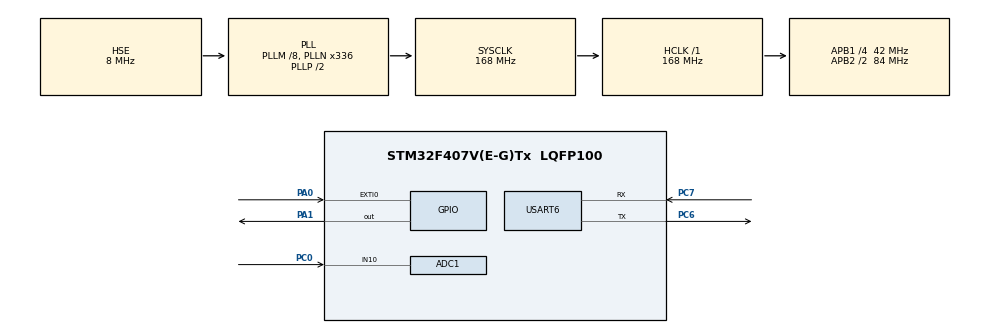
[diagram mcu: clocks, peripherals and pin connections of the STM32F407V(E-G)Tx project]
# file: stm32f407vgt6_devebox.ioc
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ADC1.Channel-1\#ChannelRegularConversion=ADC_CHANNEL_10
ADC1.InjNumberOfConversion=0
ADC1.NbrOfConversionFlag=1
ADC1.Rank-1\#ChannelRegularConversion=1
ADC1.SamplingTime-1\#ChannelRegularConversion=ADC_SAMPLETIME_15CYCLES
ADC1.master=1
Dma.ADC1.0.Direction=DMA_PERIPH_TO_MEMORY
Dma.ADC1.0.FIFOMode=DMA_FIFOMODE_DISABLE
Dma.ADC1.0.Instance=DMA2_Stream0
Dma.ADC1.0.MemDataAlignment=DMA_MDATAALIGN_HALFWORD
Dma.ADC1.0.MemInc=DMA_MINC_DISABLE
Dma.ADC1.0.Mode=DMA_NORMAL
Dma.ADC1.0.PeriphDataAlignment=DMA_PDATAALIGN_HALFWORD
Dma.ADC1.0.PeriphInc=DMA_PINC_DISABLE
Dma.ADC1.0.Priority=DMA_PRIORITY_LOW
Dma.Request0=ADC1
Mcu.Family=STM32F4
Mcu.Name=STM32F407V(E-G)Tx
Mcu.Package=LQFP100
NVIC.DMA2_Stream0_IRQn=true\:0\:0\:false\:false\:true\:false\:true\:true
NVIC.EXTI0_IRQn=true\:5\:0\:true\:false\:true\:true\:true\:true
NVIC.PriorityGroup=NVIC_PRIORITYGROUP_4
NVIC.RCC_IRQn=true\:0\:0\:false\:false\:true\:true\:false\:true
NVIC.TIM2_IRQn=true\:0\:0\:false\:false\:true\:true\:true\:true
NVIC.USART6_IRQn=true\:0\:0\:false\:false\:true\:true\:true\:true
PA0-WKUP.GPIO_ModeDefaultEXTI=GPIO_MODE_IT_RISING
PA0-WKUP.GPIO_PuPd=GPIO_PULLDOWN
PA0-WKUP.Signal=GPXTI0
PA1.PinState=GPIO_PIN_SET
PA1.Signal=GPIO_Output
PA13.Mode=Serial_Wire
PA13.Signal=SYS_JTMS-SWDIO
PA14.Mode=Serial_Wire
PA14.Signal=SYS_JTCK-SWCLK
PC0.Signal=ADCx_IN10
PC6.Mode=Asynchronous
PC6.Signal=USART6_TX
PC7.Mode=Asynchronous
PC7.Signal=USART6_RX
PH0-OSC_IN.Mode=HSE-External-Oscillator
PH0-OSC_IN.Signal=RCC_OSC_IN
PH1-OSC_OUT.Mode=HSE-External-Oscillator
PH1-OSC_OUT.Signal=RCC_OSC_OUT
ProjectManager.HeapSize=0x200
ProjectManager.StackSize=0x400
ProjectManager.TargetToolchain=STM32CubeIDE
RCC.48MHZClocksFreq_Value=84000000
RCC.AHBFreq_Value=168000000
RCC.APB1CLKDivider=RCC_HCLK_DIV4
RCC.APB1Freq_Value=42000000
RCC.APB1TimFreq_Value=84000000
RCC.APB2CLKDivider=RCC_HCLK_DIV2
RCC.APB2Freq_Value=84000000
RCC.APB2TimFreq_Value=168000000
RCC.CortexFreq_Value=168000000
RCC.HCLKFreq_Value=168000000
RCC.HSE_VALUE=8000000
RCC.HSI_VALUE=16000000
RCC.LSE_VALUE=32768
RCC.PLLM=8
RCC.PLLN=336
RCC.PLLSourceVirtual=RCC_PLLSOURCE_HSE
RCC.SYSCLKFreq_VALUE=168000000
RCC.SYSCLKSource=RCC_SYSCLKSOURCE_PLLCLK
RCC.VCOOutputFreq_Value=336000000
SH.ADCx_IN10.0=ADC1_IN10,IN10
TIM2.Period=9999
TIM2.Prescaler=839
USART6.VirtualMode=VM_ASYNC
VP_TIM2_VS_ClockSourceINT.Mode=Internal
board=custom

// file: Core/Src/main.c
/* USER CODE BEGIN Header */
/**
 ******************************************************************************
 * @file           : main.c
 * @brief          : Main program body
 ******************************************************************************
 * @attention
 *
 * Copyright (c) 2026 STMicroelectronics.
 * All rights reserved.
 *
 * This software is licensed under terms that can be found in the LICENSE file
 * in the root directory of this software component.
 * If no LICENSE file comes with this software, it is provided AS-IS.
 *
 ******************************************************************************
 */
/* USER CODE END Header */
#include "main.h"

/* USER CODE BEGIN PTD */
typedef enum
{
  LED_MODE_OFF = 0,
  LED_MODE_ON,
  LED_MODE_BLINK_SLOW,
  LED_MODE_BLINK_FAST,
} LedMode_t;
typedef enum
{
  ADC_JOB_NONE = 0,
  ADC_JOB_SINGLE,
  ADC_JOB_AVG,
} ADCMode_t;
/* USER CODE END PTD */

ADC_HandleTypeDef hadc1;
DMA_HandleTypeDef hdma_adc1;

TIM_HandleTypeDef htim2;

UART_HandleTypeDef huart6;
HAL_StatusTypeDef status;
/* USER CODE BEGIN PV */
static uint32_t button_last_tick = 0;
static uint32_t last_blink = 0;
volatile uint32_t pending_presses = 0;
volatile uint32_t press_count = 0;
static uint8_t blink_active = 0;
static uint8_t blink_toggles_left = 0;
static uint32_t blink_tick = 0;
static LedMode_t led_mode = LED_MODE_OFF;
static uint32_t led_mode_tick = 0;
volatile uint8_t rx_byte;
volatile uint8_t rx_buffer[64];
volatile uint8_t rx_index = 0;
volatile uint8_t command_ready;
static const char led_on[] = "LED ON\r\n";
static const char led_off[] = "LED OFF\r\n";
static const char led_blink_slow[] = "LED BLINK SLOW\r\n";
static const char led_blink_fast[] = "LED BLINK FAST\r\n";
volatile uint8_t tim_flag = 0;
static int16_t time_between_measurements = 0;
static int8_t continue_measuring = 0;
static uint32_t prev_measurement = 0;
static uint32_t adc_single_value = 0;
static uint32_t adc_dma_buffer[8];
volatile uint8_t adc_flag = 0;
static ADCMode_t adc_mode = ADC_JOB_NONE;
static const char line_busy[] = "ADC busy\r\n";
static const char adc_error[] = "ADC error\r\n";
/* USER CODE END PV */

void SystemClock_Config(void);
static void MX_GPIO_Init(void);
static void MX_DMA_Init(void);
static void MX_USART6_UART_Init(void);
static void MX_TIM2_Init(void);
static void MX_ADC1_Init(void);

/* USER CODE BEGIN 0 */

static void led_set_on(void)
{
  HAL_GPIO_WritePin(GPIOA, GPIO_PIN_1, GPIO_PIN_RESET);
}

static void led_set_off(void)
{
  HAL_GPIO_WritePin(GPIOA, GPIO_PIN_1, GPIO_PIN_SET);
}
void parsing_measurement_command(char *str)
{
  char *first, *second;
  first = strtok(str, " ");
  second = strtok(NULL, " ");
  if (second != NULL)
  {
    time_between_measurements = atoi(second);
    if (time_between_measurements == 0)
    {
      continue_measuring = 0;
    }
    else
    {
      continue_measuring = 1;
      prev_measurement = HAL_GetTick();
    }
  }
}
void execute_command(const char *str)
{
  if (strcmp(str, "led on") == 0)
  {
    led_mode = LED_MODE_ON;
  }
  else if (strcmp(str, "led off") == 0)
  {
    led_mode = LED_MODE_OFF;
  }
  else if (strcmp(str, "status") == 0)
  {
    switch (led_mode)
    {
    case LED_MODE_OFF:
      HAL_UART_Transmit(&huart6, (uint8_t *)led_off, sizeof(led_off) - 1, HAL_MAX_DELAY);
      break;
    case LED_MODE_ON:
      HAL_UART_Transmit(&huart6, (uint8_t *)led_on, sizeof(led_on) - 1, HAL_MAX_DELAY);
      break;
    case LED_MODE_BLINK_SLOW:
      HAL_UART_Transmit(&huart6, (uint8_t *)led_blink_slow, sizeof(led_blink_slow) - 1, HAL_MAX_DELAY);
      break;
    case LED_MODE_BLINK_FAST:
      HAL_UART_Transmit(&huart6, (uint8_t *)led_blink_fast, sizeof(led_blink_fast) - 1, HAL_MAX_DELAY);
      break;
    default:
      HAL_UART_Transmit(&huart6, (uint8_t *)led_off, sizeof(led_off) - 1, HAL_MAX_DELAY);
      break;
    }
  }
  else if (strcmp(str, "measurement_avg") == 0)
  {
    adc_mode = ADC_JOB_AVG;
    status = HAL_ADC_Start_DMA(&hadc1, adc_dma_buffer, sizeof(adc_dma_buffer) / sizeof(adc_dma_buffer[0]));
    if (status == HAL_BUSY)
    {
      HAL_UART_Transmit(&huart6, (uint8_t *)line_busy, sizeof(line_busy) - 1, HAL_MAX_DELAY);
    }
    else if (status == HAL_ERROR)
    {
      HAL_UART_Transmit(&huart6, (uint8_t *)adc_error, sizeof(adc_error) - 1, HAL_MAX_DELAY);
    }
  }
  else if (strncmp(str, "measurement", 11) == 0)
  {
    if (strlen(str) == 11)
    {
      adc_mode = ADC_JOB_SINGLE;
      status = HAL_ADC_Start_DMA(&hadc1, &adc_single_value, 1);
      if (status == HAL_BUSY)
      {
        HAL_UART_Transmit(&huart6, (uint8_t *)line_busy, sizeof(line_busy) - 1, HAL_MAX_DELAY);
      }
      else if (status == HAL_ERROR)
      {
        HAL_UART_Transmit(&huart6, (uint8_t *)adc_error, sizeof(adc_error) - 1, HAL_MAX_DELAY);
      }
    }
    else if (str[11] == ' ')
    {
      parsing_measurement_command(str);
    }
  }
}
/* USER CODE END 0 */

int main(void)
{

  /* MCU Configuration--------------------------------------------------------*/

  /* Reset of all peripherals, Initializes the Flash interface and the Systick. */
  HAL_Init();

  /* Configure the system clock */
  SystemClock_Config();

  /* Initialize all configured peripherals */
  MX_GPIO_Init();
  MX_DMA_Init();
  MX_USART6_UART_Init();
  MX_TIM2_Init();
  MX_ADC1_Init();
  /* USER CODE BEGIN 2 */
  led_set_off();
  const char msg[] = "UART6 is ready\r\n";
  HAL_UART_Transmit(&huart6, (uint8_t *)msg, sizeof(msg) - 1, HAL_MAX_DELAY);
  HAL_UART_Receive_IT(&huart6, &rx_byte, 1);
  HAL_TIM_Base_Start_IT(&htim2);
  /* USER CODE END 2 */

  /* Infinite loop */
  while (1)
  {

    /* USER CODE BEGIN 3 */
    uint32_t now = HAL_GetTick();

    if (tim_flag)
    {
      led_mode = (led_mode == LED_MODE_OFF) ? LED_MODE_ON : LED_MODE_OFF;
      tim_flag = 0;
    }

    if (command_ready)
    {
      execute_command((char *)rx_buffer);
      command_ready = 0;
      rx_index = 0;
      memset(rx_buffer, 0, sizeof(rx_buffer));
    }

    if (continue_measuring == 1)
    {
      if ((now - prev_measurement) >= time_between_measurements)
      {
        adc_mode = ADC_JOB_SINGLE;
        status = HAL_ADC_Start_DMA(&hadc1, &adc_single_value, 1);
        if (status == HAL_BUSY)
        {
          HAL_UART_Transmit(&huart6, (uint8_t *)line_busy, sizeof(line_busy) - 1, HAL_MAX_DELAY);
        }
        else if (status == HAL_ERROR)
        {
          HAL_UART_Transmit(&huart6, (uint8_t *)adc_error, sizeof(adc_error) - 1, HAL_MAX_DELAY);
        }
        prev_measurement = now;
      }
    }

    if (adc_flag && adc_mode == ADC_JOB_SINGLE)
    {
      char buf[16];
      int len = sprintf(buf, "ADC: %lu\r\n", adc_single_value);
      HAL_UART_Transmit(&huart6, (uint8_t *)buf, len, HAL_MAX_DELAY);
      adc_flag = 0;
      adc_mode = ADC_JOB_NONE;
    }

    if (adc_flag && adc_mode == ADC_JOB_AVG)
    {
      uint32_t adc_dma_value = 0;
      uint32_t sum = 0;
      static const size_t adc_dma_buffer_length = sizeof(adc_dma_buffer) / sizeof(adc_dma_buffer[0]);
      for (size_t i = 0; i < adc_dma_buffer_length; i++)
      {
        sum += adc_dma_buffer[i];
      }
      adc_dma_value = sum / adc_dma_buffer_length;
      char buf[16];
      int len = sprintf(buf, "ADC: %lu\r\n", adc_dma_value);
      HAL_UART_Transmit(&huart6, (uint8_t *)buf, len, HAL_MAX_DELAY);
      adc_flag = 0;
      adc_mode = ADC_JOB_NONE;
    }

    if (pending_presses > 0U)
    {
      pending_presses--;
      led_mode++;
      if (led_mode > LED_MODE_BLINK_FAST)
      {
        led_mode = LED_MODE_OFF;
      }
      led_mode_tick = now;
    }
    switch (led_mode)
    {
    case LED_MODE_OFF:
      led_set_off();
      break;
    case LED_MODE_ON:
      led_set_on();
      break;
    case LED_MODE_BLINK_SLOW:
      if ((now - led_mode_tick) >= 500U)
      {
        HAL_GPIO_TogglePin(GPIOA, GPIO_PIN_1);
        led_mode_tick = now;
      }
      break;
    case LED_MODE_BLINK_FAST:
      if ((now - led_mode_tick) >= 150U)
      {
        HAL_GPIO_TogglePin(GPIOA, GPIO_PIN_1);
        led_mode_tick = now;
      }
      break;
    default:
      led_mode = LED_MODE_OFF;
      break;
    }
  }
  /* USER CODE END 3 */
}

void SystemClock_Config(void)
{
  RCC_OscInitTypeDef RCC_OscInitStruct = {0};
  RCC_ClkInitTypeDef RCC_ClkInitStruct = {0};

  /** Configure the main internal regulator output voltage
   */
  __HAL_RCC_PWR_CLK_ENABLE();
  __HAL_PWR_VOLTAGESCALING_CONFIG(PWR_REGULATOR_VOLTAGE_SCALE1);

  /** Initializes the RCC Oscillators according to the specified parameters
   * in the RCC_OscInitTypeDef structure.
   */
  RCC_OscInitStruct.OscillatorType = RCC_OSCILLATORTYPE_HSE;
  RCC_OscInitStruct.HSEState = RCC_HSE_ON;
  RCC_OscInitStruct.PLL.PLLState = RCC_PLL_ON;
  RCC_OscInitStruct.PLL.PLLSource = RCC_PLLSOURCE_HSE;
  RCC_OscInitStruct.PLL.PLLM = 8;
  RCC_OscInitStruct.PLL.PLLN = 336;
  RCC_OscInitStruct.PLL.PLLP = RCC_PLLP_DIV2;
  RCC_OscInitStruct.PLL.PLLQ = 4;
  if (HAL_RCC_OscConfig(&RCC_OscInitStruct) != HAL_OK)
  {
    Error_Handler();
  }

  /** Initializes the CPU, AHB and APB buses clocks
   */
  RCC_ClkInitStruct.ClockType = RCC_CLOCKTYPE_HCLK | RCC_CLOCKTYPE_SYSCLK | RCC_CLOCKTYPE_PCLK1 | RCC_CLOCKTYPE_PCLK2;
  RCC_ClkInitStruct.SYSCLKSource = RCC_SYSCLKSOURCE_PLLCLK;
  RCC_ClkInitStruct.AHBCLKDivider = RCC_SYSCLK_DIV1;
  RCC_ClkInitStruct.APB1CLKDivider = RCC_HCLK_DIV4;
  RCC_ClkInitStruct.APB2CLKDivider = RCC_HCLK_DIV2;

  if (HAL_RCC_ClockConfig(&RCC_ClkInitStruct, FLASH_LATENCY_5) != HAL_OK)
  {
    Error_Handler();
  }
}

static void MX_ADC1_Init(void)
{

  ADC_ChannelConfTypeDef sConfig = {0};

  /** Configure the global features of the ADC (Clock, Resolution, Data Alignment and number of conversion)
   */
  hadc1.Instance = ADC1;
  hadc1.Init.ClockPrescaler = ADC_CLOCK_SYNC_PCLK_DIV4;
  hadc1.Init.Resolution = ADC_RESOLUTION_12B;
  hadc1.Init.ScanConvMode = DISABLE;
  hadc1.Init.ContinuousConvMode = DISABLE;
  hadc1.Init.DiscontinuousConvMode = DISABLE;
  hadc1.Init.ExternalTrigConvEdge = ADC_EXTERNALTRIGCONVEDGE_NONE;
  hadc1.Init.ExternalTrigConv = ADC_SOFTWARE_START;
  hadc1.Init.DataAlign = ADC_DATAALIGN_RIGHT;
  hadc1.Init.NbrOfConversion = 1;
  hadc1.Init.DMAContinuousRequests = DISABLE;
  hadc1.Init.EOCSelection = ADC_EOC_SINGLE_CONV;
  if (HAL_ADC_Init(&hadc1) != HAL_OK)
  {
    Error_Handler();
  }

  /** Configure for the selected ADC regular channel its corresponding rank in the sequencer and its sample time.
   */
  sConfig.Channel = ADC_CHANNEL_10;
  sConfig.Rank = 1;
  sConfig.SamplingTime = ADC_SAMPLETIME_15CYCLES;
  if (HAL_ADC_ConfigChannel(&hadc1, &sConfig) != HAL_OK)
  {
    Error_Handler();
  }
}

static void MX_TIM2_Init(void)
{

  TIM_ClockConfigTypeDef sClockSourceConfig = {0};
  TIM_MasterConfigTypeDef sMasterConfig = {0};

  htim2.Instance = TIM2;
  htim2.Init.Prescaler = 839;
  htim2.Init.CounterMode = TIM_COUNTERMODE_UP;
  htim2.Init.Period = 9999;
  htim2.Init.ClockDivision = TIM_CLOCKDIVISION_DIV1;
  htim2.Init.AutoReloadPreload = TIM_AUTORELOAD_PRELOAD_DISABLE;
  if (HAL_TIM_Base_Init(&htim2) != HAL_OK)
  {
    Error_Handler();
  }
  sClockSourceConfig.ClockSource = TIM_CLOCKSOURCE_INTERNAL;
  if (HAL_TIM_ConfigClockSource(&htim2, &sClockSourceConfig) != HAL_OK)
  {
    Error_Handler();
  }
  sMasterConfig.MasterOutputTrigger = TIM_TRGO_RESET;
  sMasterConfig.MasterSlaveMode = TIM_MASTERSLAVEMODE_DISABLE;
  if (HAL_TIMEx_MasterConfigSynchronization(&htim2, &sMasterConfig) != HAL_OK)
  {
    Error_Handler();
  }
}

static void MX_USART6_UART_Init(void)
{

  huart6.Instance = USART6;
  huart6.Init.BaudRate = 115200;
  huart6.Init.WordLength = UART_WORDLENGTH_8B;
  huart6.Init.StopBits = UART_STOPBITS_1;
  huart6.Init.Parity = UART_PARITY_NONE;
  huart6.Init.Mode = UART_MODE_TX_RX;
  huart6.Init.HwFlowCtl = UART_HWCONTROL_NONE;
  huart6.Init.OverSampling = UART_OVERSAMPLING_16;
  if (HAL_UART_Init(&huart6) != HAL_OK)
  {
    Error_Handler();
  }
}

static void MX_DMA_Init(void)
{

  /* DMA controller clock enable */
  __HAL_RCC_DMA2_CLK_ENABLE();

  /* DMA interrupt init */
  /* DMA2_Stream0_IRQn interrupt configuration */
  HAL_NVIC_SetPriority(DMA2_Stream0_IRQn, 0, 0);
  HAL_NVIC_EnableIRQ(DMA2_Stream0_IRQn);
}

static void MX_GPIO_Init(void)
{
  GPIO_InitTypeDef GPIO_InitStruct = {0};

  /* GPIO Ports Clock Enable */
  __HAL_RCC_GPIOH_CLK_ENABLE();
  __HAL_RCC_GPIOC_CLK_ENABLE();
  __HAL_RCC_GPIOA_CLK_ENABLE();

  /*Configure GPIO pin Output Level */
  HAL_GPIO_WritePin(GPIOA, GPIO_PIN_1, GPIO_PIN_SET);

  /*Configure GPIO pin : PA0 */
  GPIO_InitStruct.Pin = GPIO_PIN_0;
  GPIO_InitStruct.Mode = GPIO_MODE_IT_RISING;
  GPIO_InitStruct.Pull = GPIO_PULLDOWN;
  HAL_GPIO_Init(GPIOA, &GPIO_InitStruct);

  /*Configure GPIO pin : PA1 */
  GPIO_InitStruct.Pin = GPIO_PIN_1;
  GPIO_InitStruct.Mode = GPIO_MODE_OUTPUT_PP;
  GPIO_InitStruct.Pull = GPIO_NOPULL;
  GPIO_InitStruct.Speed = GPIO_SPEED_FREQ_LOW;
  HAL_GPIO_Init(GPIOA, &GPIO_InitStruct);

  /* EXTI interrupt init*/
  HAL_NVIC_SetPriority(EXTI0_IRQn, 5, 0);
  HAL_NVIC_EnableIRQ(EXTI0_IRQn);

}

/* USER CODE BEGIN 4 */
void HAL_GPIO_EXTI_Callback(uint16_t GPIO_Pin)
{
  uint32_t now = HAL_GetTick();

  if ((GPIO_Pin == GPIO_PIN_0) && ((now - button_last_tick) > 150U))
  {
    button_last_tick = now;
    pending_presses++;
    press_count++;
  }
}

void HAL_UART_RxCpltCallback(UART_HandleTypeDef *huart)
{
  if (huart->Instance == USART6)
  {
    if (rx_index < sizeof(rx_buffer) - 1)
    {
      if (rx_byte != '\r' && rx_byte != '\n')
      {
        rx_buffer[rx_index++] = rx_byte;
        rx_buffer[rx_index] = '\0';
      }
      else
      {
        command_ready = 1;
        rx_buffer[rx_index] = '\0';
      }
    }
    else
    {
      rx_index = 0;
      memset(rx_buffer, 0, sizeof(rx_buffer));
    }
  }
  HAL_UART_Receive_IT(&huart6, &rx_byte, 1);
}

void HAL_TIM_PeriodElapsedCallback(TIM_HandleTypeDef *htim)
{
  if (htim->Instance == TIM2)
  {
    tim_flag = 1;
  }
}

void HAL_ADC_ConvCpltCallback(ADC_HandleTypeDef *hadc)
{
  if (hadc->Instance == ADC1)
  {
    adc_flag = 1;
  }
}
/* USER CODE END 4 */

void Error_Handler(void)
{
  __disable_irq();
  while (1)
  {
  }
}
